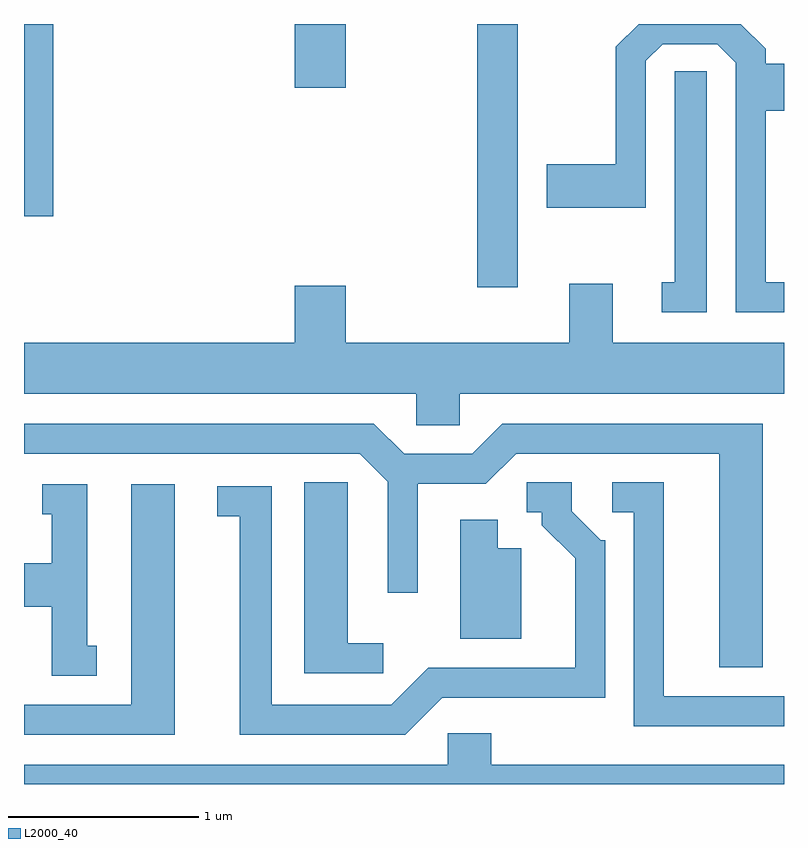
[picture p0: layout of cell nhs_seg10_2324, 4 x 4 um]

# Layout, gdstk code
import gdstk
lib = gdstk.Library(unit=1e-6, precision=1e-09)
def R(c, l, rs):  # rectangles x0, y0, x1, y1
    for r in rs: c.add(gdstk.rectangle(r[:2], r[2:], *l))
def P(c, l, *ps):  # polygons
    for p in ps: c.add(gdstk.Polygon(p, *l))
L2000_40 = (2000, 40)

nhs_seg10_2324 = lib.new_cell('nhs_seg10_2324')
R(nhs_seg10_2324, L2000_40, [(255.996,2121.136,256.209,2122.522), (253.611,2121.511,253.764,2122.522), (255.036,2122.186,255.304,2122.522)])
P(nhs_seg10_2324, L2000_40, [(257.611,2121.164),(257.514,2121.164),(257.514,2122.066),(257.611,2122.066),(257.611,2122.314),(257.514,2122.314),(257.514,2122.392),(257.384,2122.522),(256.847,2122.522),(256.726,2122.402),(256.726,2121.784),(256.361,2121.784),(256.361,2121.556),(256.884,2121.556),(256.884,2122.329),(256.972,2122.416),(257.259,2122.416),(257.356,2122.319),(257.356,2121.006),(257.611,2121.006)],
  [(257.204,2122.273),(257.036,2122.273),(257.036,2121.164),(256.968,2121.164),(256.968,2121.006),(257.204,2121.006)],
  [(255.904,2120.576),(257.611,2120.576),(257.611,2120.844),(256.709,2120.844),(256.709,2121.154),(256.481,2121.154),(256.481,2120.844),(255.304,2120.844),(255.304,2121.144),(255.036,2121.144),(255.036,2120.844),(253.611,2120.844),(253.611,2120.576),(255.676,2120.576),(255.676,2120.411),(255.904,2120.411)],
  [(257.499,2120.419),(256.129,2120.419),(255.969,2120.259),(255.612,2120.259),(255.452,2120.419),(253.611,2120.419),(253.611,2120.261),(255.379,2120.261),(255.526,2120.114),(255.526,2119.528),(255.684,2119.528),(255.684,2120.101),(256.041,2120.101),(256.202,2120.261),(257.271,2120.261),(257.271,2119.136),(257.499,2119.136)],
  [(257.611,2118.984),(256.979,2118.984),(256.979,2120.109),(256.707,2120.109),(256.707,2119.951),(256.821,2119.951),(256.821,2118.826),(257.611,2118.826)],
  [(255.812,2118.976),(256.669,2118.976),(256.669,2119.804),(256.647,2119.804),(256.494,2119.957),(256.494,2120.109),(256.258,2120.109),(256.258,2119.951),(256.336,2119.951),(256.336,2119.884),(256.511,2119.709),(256.511,2119.134),(255.739,2119.134),(255.544,2118.939),(254.914,2118.939),(254.914,2120.089),(254.628,2120.089),(254.628,2119.931),(254.746,2119.931),(254.746,2118.781),(255.617,2118.781)],
  [(255.503,2119.264),(255.314,2119.264),(255.314,2120.109),(255.086,2120.109),(255.086,2119.106),(255.503,2119.106)],
  [(254.404,2120.099),(254.176,2120.099),(254.176,2118.939),(253.611,2118.939),(253.611,2118.781),(254.404,2118.781)],
  [(253.993,2119.249),(253.944,2119.249),(253.944,2120.099),(253.708,2120.099),(253.708,2119.941),(253.756,2119.941),(253.756,2119.684),(253.611,2119.684),(253.611,2119.456),(253.756,2119.456),(253.756,2119.091),(253.993,2119.091)],
  [(256.229,2119.764),(256.104,2119.764),(256.104,2119.914),(255.906,2119.914),(255.906,2119.286),(256.229,2119.286)],
  [(257.611,2118.624),(256.069,2118.624),(256.069,2118.789),(255.841,2118.789),(255.841,2118.624),(253.611,2118.624),(253.611,2118.522),(257.611,2118.522)])

lib.write_gds('nhs_seg10_2324.gds')
